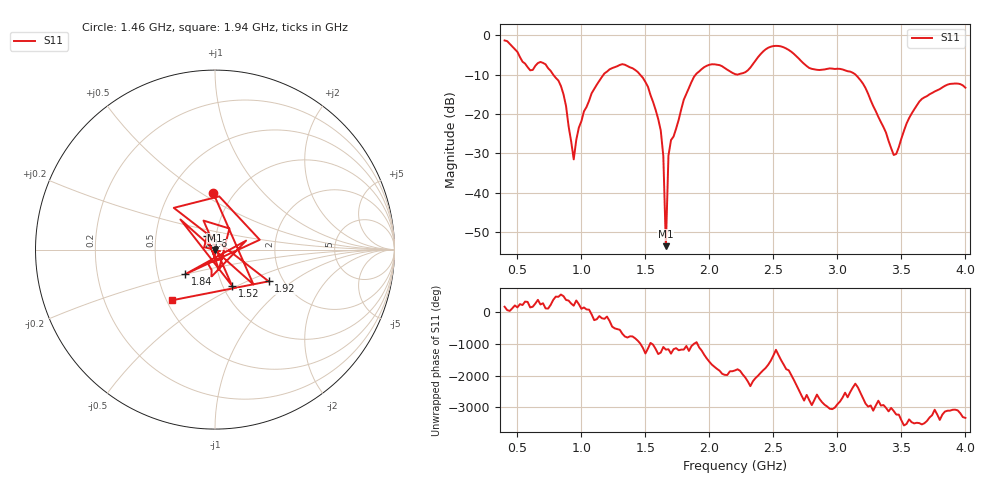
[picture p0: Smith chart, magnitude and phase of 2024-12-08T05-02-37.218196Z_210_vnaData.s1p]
!Created with skrf (http://scikit-rf.org).
# Hz S RI R 50.0
!freq ReS11 ImS11
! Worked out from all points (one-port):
!   181 points, 400 MHz to 4 GHz, reference 50 ohm
!   lowest |S11| = -53.5 dB at 1.66 GHz (marker M1), VSWR 1.00, Z = 50 - j0.208 ohm
!   |S11| at or under -10 dB: 779.6 MHz to 1.173 GHz (393.6 MHz wide, 40.3 % of centre); 1.458 GHz to 1.893 GHz (435 MHz wide, 26 % of centre); 3.142 GHz to end of sweep
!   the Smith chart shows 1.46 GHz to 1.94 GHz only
!   S11 on the Smith chart (normalised r, x): 1.46 GHz: 0.81, +0.56; 1.52 GHz: 1.11, -0.47; 1.6 GHz: 0.90, +0.14; 1.84 GHz: 0.69, -0.20; 1.92 GHz: 1.68, -0.68; 1.94 GHz: 0.53, -0.35
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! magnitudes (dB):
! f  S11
! 400 MHz  -1.3
! 600 MHz  -8.9
! 720 MHz  -7.4
! 860 MHz  -15.0
! 940 MHz  -31.5
! 980 MHz  -23.4
! 1.08 GHz  -14.7
! 1.3 GHz  -7.5
! 1.46 GHz  -10.1
! 1.52 GHz  -13.1
! 1.6 GHz  -21.2
! 1.64 GHz  -30.7
! 1.66 GHz  -53.5
! 1.68 GHz  -30.6
! 1.76 GHz  -21.5
! 1.84 GHz  -13.4
! 1.92 GHz  -9.2
! 1.94 GHz  -8.6
! 2.2 GHz  -9.9
! 2.48 GHz  -2.9
! 2.66 GHz  -4.7
! 2.8 GHz  -8.5
! 3.1 GHz  -9.2
! 3.22 GHz  -13.4
! 3.44 GHz  -30.4
! 3.56 GHz  -21.0
! 3.84 GHz  -12.8
! 4 GHz  -13.3
